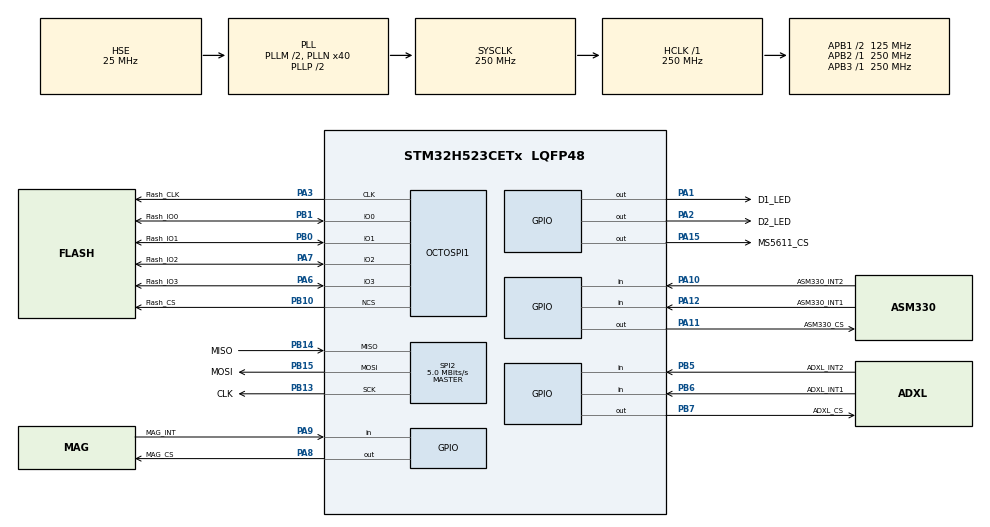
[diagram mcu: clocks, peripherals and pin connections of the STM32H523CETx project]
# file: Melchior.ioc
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BOOTPATH.BootPathName=LEGACY
BOOTPATH.UserSelectedBootPath=LEGACY
CORTEX_M33_NS.userName=CORTEX_M33
Mcu.Family=STM32H5
Mcu.Name=STM32H523CETx
Mcu.Package=LQFP48
NVIC.PriorityGroup=NVIC_PRIORITYGROUP_4
NVIC.TIM2_IRQn=true\:0\:0\:false\:false\:true\:true\:true\:true
PA1.GPIO_Label=D1_LED
PA1.Signal=GPIO_Output
PA10.GPIO_Label=ASM330_INT2
PA10.Signal=GPIO_Input
PA11.GPIO_Label=ASM330_CS
PA11.PinState=GPIO_PIN_SET
PA11.Signal=GPIO_Output
PA12.GPIO_Label=ASM330_INT1
PA12.Signal=GPIO_Input
PA13(JTMS/SWDIO).Mode=Trace_Asynchronous_SW
PA13(JTMS/SWDIO).Signal=DEBUG_JTMS-SWDIO
PA14(JTCK/SWCLK).Mode=Trace_Asynchronous_SW
PA14(JTCK/SWCLK).Signal=DEBUG_JTCK-SWCLK
PA15(JTDI).GPIO_Label=MS5611_CS
PA15(JTDI).PinState=GPIO_PIN_SET
PA15(JTDI).Signal=GPIO_Output
PA2.GPIO_Label=D2_LED
PA2.Signal=GPIO_Output
PA3.GPIO_Label=Flash_CLK
PA3.Mode=quad_mode
PA3.Signal=OCTOSPI1_CLK
PA6.GPIO_Label=Flash_IO3
PA6.Mode=OCTOSPI1_IO[3\:0]
PA6.Signal=OCTOSPI1_IO3
PA7.GPIO_Label=Flash_IO2
PA7.Mode=OCTOSPI1_IO[3\:0]
PA7.Signal=OCTOSPI1_IO2
PA8.GPIO_Label=MAG_CS
PA8.PinState=GPIO_PIN_SET
PA8.Signal=GPIO_Output
PA9.GPIO_Label=MAG_INT
PA9.Signal=GPIO_Input
PB0.GPIO_Label=Flash_IO1
PB0.Mode=OCTOSPI1_IO[3\:0]
PB0.Signal=OCTOSPI1_IO1
PB1.GPIO_Label=Flash_IO0
PB1.Mode=OCTOSPI1_IO[3\:0]
PB1.Signal=OCTOSPI1_IO0
PB10.GPIO_Label=Flash_CS
PB10.Mode=quad_mode
PB10.Signal=OCTOSPI1_NCS
PB13.GPIO_Label=CLK
PB13.Mode=Full_Duplex_Master
PB13.Signal=SPI2_SCK
PB14.GPIO_Label=MISO
PB14.Mode=Full_Duplex_Master
PB14.Signal=SPI2_MISO
PB15.GPIO_Label=MOSI
PB15.Mode=Full_Duplex_Master
PB15.Signal=SPI2_MOSI
PB3(JTDO/TRACESWO).Mode=Trace_Asynchronous_SW
PB3(JTDO/TRACESWO).Signal=DEBUG_JTDO-SWO
PB5.GPIO_Label=ADXL_INT2
PB5.Signal=GPIO_Input
PB6.GPIO_Label=ADXL_INT1
PB6.Signal=GPIO_Input
PB7.GPIO_Label=ADXL_CS
PB7.PinState=GPIO_PIN_SET
PB7.Signal=GPIO_Output
PC14-OSC32_IN(OSC32_IN).Mode=LSE-External-Oscillator
PC14-OSC32_IN(OSC32_IN).Signal=RCC_OSC32_IN
PC15-OSC32_OUT(OSC32_OUT).Mode=LSE-External-Oscillator
PC15-OSC32_OUT(OSC32_OUT).Signal=RCC_OSC32_OUT
PH0-OSC_IN(PH0).Mode=HSE-External-Oscillator
PH0-OSC_IN(PH0).Signal=RCC_OSC_IN
PH1-OSC_OUT(PH1).Mode=HSE-External-Oscillator
PH1-OSC_OUT(PH1).Signal=RCC_OSC_OUT
ProjectManager.HeapSize=0x200
ProjectManager.StackSize=0x400
ProjectManager.TargetToolchain=STM32CubeIDE
RCC.ADCFreq_Value=250000000
RCC.AHBFreq_Value=250000000
RCC.APB1CLKDivider=RCC_HCLK_DIV2
RCC.APB1Freq_Value=125000000
RCC.APB1TimFreq_Value=250000000
RCC.APB2Freq_Value=250000000
RCC.APB2TimFreq_Value=250000000
RCC.APB3Freq_Value=250000000
RCC.CSI_VALUE=4000000
RCC.CortexFreq_Value=250000000
RCC.EPOD_VALUE=25000000
RCC.HCLKFreq_Value=250000000
RCC.HSE_VALUE=25000000
RCC.HSI48_VALUE=48000000
RCC.HSI_VALUE=64000000
RCC.LSIRC_VALUE=32000
RCC.OCTOSPIMCLockSelection=RCC_OSPICLKSOURCE_PLL2R
RCC.PLL1Q=100
RCC.PLL2FRACN=0
RCC.PLL2R=8
RCC.PLL3FRACN=0
RCC.PLLFRACN=0
RCC.PLLM=2
RCC.PLLN=40
RCC.PLLSourceVirtual=RCC_PLL1_SOURCE_HSE
RCC.RTCClockSelection=RCC_RTCCLKSOURCE_LSE
RCC.SYSCLKFreq_VALUE=250000000
RCC.SYSCLKSource=RCC_SYSCLKSOURCE_PLLCLK
RCC.USBFreq_Value=48000000
RCC.VCOOutputFreq_Value=500000000
SPI2.BaudRatePrescaler=SPI_BAUDRATEPRESCALER_BYPASS
SPI2.CLKPhase=SPI_PHASE_1EDGE
SPI2.CLKPolarity=SPI_POLARITY_LOW
SPI2.CalculateBaudRate=5.0 MBits/s
SPI2.DataSize=SPI_DATASIZE_8BIT
SPI2.Direction=SPI_DIRECTION_2LINES
SPI2.Mode=SPI_MODE_MASTER
SPI2.VirtualType=VM_MASTER
TIM2.PeriodNoDither=4999
TIM2.Prescaler=24999
VP_BOOTPATH_VS_BOOTPATH.Mode=BP_Activate
VP_CORTEX_M33_NS_VS_Hclk.Mode=Hclk_Mode
VP_ICACHE_VS_ICACHE.Mode=DefaultMode
VP_MEMORYMAP_VS_MEMORYMAP.Mode=CurAppReg
VP_PWR_VS_LPOM.Mode=PowerOptimisation
VP_PWR_VS_SECSignals.Mode=Security/Privilege
VP_RTC_VS_RTC_Activate.Mode=RTC_Enabled
VP_RTC_VS_RTC_Calendar.Mode=RTC_Calendar
VP_TIM2_VS_ClockSourceINT.Mode=Internal
board=custom

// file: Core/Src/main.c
/* USER CODE BEGIN Header */
/**
  ******************************************************************************
  * @file           : main.c
  * @brief          : Main program body
  ******************************************************************************
  * @attention
  *
  * Copyright (c) 2026 STMicroelectronics.
  * All rights reserved.
  *
  * This software is licensed under terms that can be found in the LICENSE file
  * in the root directory of this software component.
  * If no LICENSE file comes with this software, it is provided AS-IS.
  *
  ******************************************************************************
  */
/* USER CODE END Header */
#include "main.h"

/* USER CODE BEGIN Includes */
#include <stdio.h>
#include "asm330lhhx.h"
#include "ms5611.h"
/* USER CODE END Includes */

XSPI_HandleTypeDef hxspi1;

RTC_HandleTypeDef hrtc;

SPI_HandleTypeDef hspi2;

TIM_HandleTypeDef htim2;

/* USER CODE BEGIN PV */
static ASM330LHHX_t asm330;
static const ASM330LHHX_Config_t asm330_config = {
		.accel_odr = ASM330LHHX_ODR_6667,
		.accel_fs = ASM330LHHX_XL_FS_2G,
		.gyro_odr = ASM330LHHX_ODR_6667,
		.gyro_fs = ASM330LHHX_G_FS_1000DPS,
		.spi_timeout_ms = 100U
};

static uint8_t asm330_ready = 0U;
static MS5611_t ms5611;
/* User-selectable settings; Init copies each configuration. */
static const MS5611_Config_t ms5611_config = {
    .pressure_osr = MS5611_OSR_4096,
    .temperature_osr = MS5611_OSR_4096,
    .spi_timeout_ms = 100U,
    .second_order_compensation = true
};

/* USER CODE END PV */

void SystemClock_Config(void);
static void MX_GPIO_Init(void);
static void MX_OCTOSPI1_Init(void);
static void MX_SPI2_Init(void);
static void MX_RTC_Init(void);
static void MX_ICACHE_Init(void);
static void MX_TIM2_Init(void);

/* USER CODE BEGIN 0 */
int _write(int file, char *ptr, int len)
{
    (void)file;
    for (int i = 0; i < len; ++i) {
        ITM_SendChar(*ptr++);
    }
    return len;
}

/* Fixed-point printing retains two decimal places, including -0.xx,
   without enabling floating-point printf in newlib-nano. */
static void print_hundredths(int32_t value)
{
    unsigned long magnitude = (unsigned long)(value < 0 ? -(int64_t)value : value);
    printf("%s%lu.%02lu", value < 0 ? "-" : "", magnitude / 100UL, magnitude % 100UL);
}

/* USER CODE END 0 */

int main(void)
{

  /* MCU Configuration--------------------------------------------------------*/

  /* Reset of all peripherals, Initializes the Flash interface and the Systick. */
  HAL_Init();

  /* Configure the system clock */
  SystemClock_Config();

  /* Initialize all configured peripherals */
  MX_GPIO_Init();
  MX_OCTOSPI1_Init();
  MX_SPI2_Init();
  MX_RTC_Init();
  MX_ICACHE_Init();
  MX_TIM2_Init();
  /* USER CODE BEGIN 2 */

  /* Keep all other devices off the shared SPI bus. */
  HAL_GPIO_WritePin(ADXL_CS_GPIO_Port, ADXL_CS_Pin, GPIO_PIN_SET);
  HAL_GPIO_WritePin(MS5611_CS_GPIO_Port, MS5611_CS_Pin, GPIO_PIN_SET);
  HAL_GPIO_WritePin(MAG_CS_GPIO_Port, MAG_CS_Pin, GPIO_PIN_SET);
  ASM330LHHX_AssignSPI(&asm330, &hspi2, ASM330_CS_GPIO_Port, ASM330_CS_Pin);
  HAL_Delay(20U); // Allow sensor power-on reset to complete.
  setvbuf(stdout, NULL, _IONBF, 0); // Send printf output directly to ITM port 0.

  uint8_t asm_id = 0U;
  HAL_StatusTypeDef asm_status = ASM330LHHX_ReadDeviceID(&asm330, &asm_id);
  if ((asm_status == HAL_OK) && (asm_id == ASM330LHHX_WHO_AM_I_VALUE)) {
    HAL_StatusTypeDef asm_init_status = ASM330LHHX_Init(&asm330, &asm330_config);
    if (asm_init_status == HAL_OK) {
      asm330_ready = 1U;
      printf("ASM330LHHX initialized\r\n");
    } else {
      printf("ASM330LHHX initialization failed, HAL status: %u\r\n",
             (unsigned int)asm_status);
    }
  } else {
    printf("ASM330LHHX not detected; check wiring and SPI configuration.\r\n");
  }

  MS5611_AssignSPI(&ms5611, &hspi2, MS5611_CS_GPIO_Port, MS5611_CS_Pin);
  MS5611_Status_t ms_status = MS5611_Init(&ms5611, &ms5611_config);
  if (ms_status == MS5611_OK) {
    printf("MS5611 initialized\r\n");
  } else {
    printf("MS5611 init failed: status=%u, HAL=%u (check PS low, CS and wiring)\r\n",
           (unsigned int)ms_status, (unsigned int)ms5611.last_hal_status);
  }

  /* USER CODE END 2 */

  /* Infinite loop */
  /* USER CODE BEGIN WHILE */
  while (1)
  {
    HAL_Delay(500U);
    if (asm330_ready) {
      ASM330LHHX_FloatData_t accel, gyro;
      HAL_StatusTypeDef accel_status = ASM330LHHX_ReadAccelMg(&asm330, &accel);
      HAL_StatusTypeDef gyro_status = ASM330LHHX_ReadGyroMdps(&asm330, &gyro);
      if (accel_status == HAL_OK) {
        printf("Accel [mg]: X=%ld Y=%ld Z=%ld\r\n",
               (long)accel.x, (long)accel.y, (long)accel.z);
      } else {
        printf("ASM330 accel read failed: HAL=%u\r\n", (unsigned int)accel_status);
      }
      if (gyro_status == HAL_OK) {
        printf("Gyro [mdps]: X=%ld Y=%ld Z=%ld\r\n",
               (long)gyro.x, (long)gyro.y, (long)gyro.z);
      } else {
        printf("ASM330 gyro read failed: HAL=%u\r\n", (unsigned int)gyro_status);
      }
    }
    if (ms5611.initialized) {
      MS5611_Data_t data;
      MS5611_Status_t status = MS5611_Read(&ms5611, &data);
      if (status == MS5611_OK) {
        printf("MS5611 pressure: ");
        print_hundredths(data.pressure_centi_mbar);
        printf(" mbar, temperature: ");
        print_hundredths(data.temperature_centi_c);
        printf(" C\r\n");
      } else {
        printf("MS5611 read failed: status=%u HAL=%u\r\n",
               (unsigned int)status, (unsigned int)ms5611.last_hal_status);
      }
    }
    /* USER CODE END WHILE */

  }
}

void SystemClock_Config(void)
{
  RCC_OscInitTypeDef RCC_OscInitStruct = {0};
  RCC_ClkInitTypeDef RCC_ClkInitStruct = {0};

  /** Configure the main internal regulator output voltage
  */
  __HAL_PWR_VOLTAGESCALING_CONFIG(PWR_REGULATOR_VOLTAGE_SCALE0);

  while(!__HAL_PWR_GET_FLAG(PWR_FLAG_VOSRDY)) {}

  /** Configure LSE Drive Capability
  *  Warning : Only applied when the LSE is disabled.
  */
  HAL_PWR_EnableBkUpAccess();
  __HAL_RCC_LSEDRIVE_CONFIG(RCC_LSEDRIVE_LOW);

  /** Initializes the RCC Oscillators according to the specified parameters
  * in the RCC_OscInitTypeDef structure.
  */
  RCC_OscInitStruct.OscillatorType = RCC_OSCILLATORTYPE_HSE|RCC_OSCILLATORTYPE_LSE
                              |RCC_OSCILLATORTYPE_CSI;
  RCC_OscInitStruct.HSEState = RCC_HSE_ON;
  RCC_OscInitStruct.LSEState = RCC_LSE_ON;
  RCC_OscInitStruct.CSIState = RCC_CSI_ON;
  RCC_OscInitStruct.CSICalibrationValue = RCC_CSICALIBRATION_DEFAULT;
  RCC_OscInitStruct.PLL.PLLState = RCC_PLL_ON;
  RCC_OscInitStruct.PLL.PLLSource = RCC_PLL1_SOURCE_HSE;
  RCC_OscInitStruct.PLL.PLLM = 2;
  RCC_OscInitStruct.PLL.PLLN = 40;
  RCC_OscInitStruct.PLL.PLLP = 2;
  RCC_OscInitStruct.PLL.PLLQ = 100;
  RCC_OscInitStruct.PLL.PLLR = 2;
  RCC_OscInitStruct.PLL.PLLRGE = RCC_PLL1_VCIRANGE_3;
  RCC_OscInitStruct.PLL.PLLVCOSEL = RCC_PLL1_VCORANGE_WIDE;
  RCC_OscInitStruct.PLL.PLLFRACN = 0;
  if (HAL_RCC_OscConfig(&RCC_OscInitStruct) != HAL_OK)
  {
    Error_Handler();
  }

  /** Initializes the CPU, AHB and APB buses clocks
  */
  RCC_ClkInitStruct.ClockType = RCC_CLOCKTYPE_HCLK|RCC_CLOCKTYPE_SYSCLK
                              |RCC_CLOCKTYPE_PCLK1|RCC_CLOCKTYPE_PCLK2
                              |RCC_CLOCKTYPE_PCLK3;
  RCC_ClkInitStruct.SYSCLKSource = RCC_SYSCLKSOURCE_PLLCLK;
  RCC_ClkInitStruct.AHBCLKDivider = RCC_SYSCLK_DIV1;
  RCC_ClkInitStruct.APB1CLKDivider = RCC_HCLK_DIV2;
  RCC_ClkInitStruct.APB2CLKDivider = RCC_HCLK_DIV1;
  RCC_ClkInitStruct.APB3CLKDivider = RCC_HCLK_DIV1;

  if (HAL_RCC_ClockConfig(&RCC_ClkInitStruct, FLASH_LATENCY_5) != HAL_OK)
  {
    Error_Handler();
  }

  /** Configure the programming delay
  */
  __HAL_FLASH_SET_PROGRAM_DELAY(FLASH_PROGRAMMING_DELAY_2);
}

static void MX_ICACHE_Init(void)
{

  /** Enable instruction cache (default 2-ways set associative cache)
  */
  if (HAL_ICACHE_Enable() != HAL_OK)
  {
    Error_Handler();
  }

}

static void MX_OCTOSPI1_Init(void)
{

  /* OCTOSPI1 parameter configuration*/
  hxspi1.Instance = OCTOSPI1;
  hxspi1.Init.FifoThresholdByte = 1;
  hxspi1.Init.MemoryMode = HAL_XSPI_SINGLE_MEM;
  hxspi1.Init.MemoryType = HAL_XSPI_MEMTYPE_MICRON;
  hxspi1.Init.MemorySize = HAL_XSPI_SIZE_16B;
  hxspi1.Init.ChipSelectHighTimeCycle = 1;
  hxspi1.Init.FreeRunningClock = HAL_XSPI_FREERUNCLK_DISABLE;
  hxspi1.Init.ClockMode = HAL_XSPI_CLOCK_MODE_0;
  hxspi1.Init.WrapSize = HAL_XSPI_WRAP_NOT_SUPPORTED;
  hxspi1.Init.ClockPrescaler = 0;
  hxspi1.Init.SampleShifting = HAL_XSPI_SAMPLE_SHIFT_NONE;
  hxspi1.Init.DelayHoldQuarterCycle = HAL_XSPI_DHQC_DISABLE;
  hxspi1.Init.ChipSelectBoundary = HAL_XSPI_BONDARYOF_NONE;
  hxspi1.Init.DelayBlockBypass = HAL_XSPI_DELAY_BLOCK_BYPASS;
  hxspi1.Init.Refresh = 0;
  if (HAL_XSPI_Init(&hxspi1) != HAL_OK)
  {
    Error_Handler();
  }

}

static void MX_RTC_Init(void)
{

  RTC_PrivilegeStateTypeDef privilegeState = {0};
  RTC_TimeTypeDef sTime = {0};
  RTC_DateTypeDef sDate = {0};

  /** Initialize RTC Only
  */
  hrtc.Instance = RTC;
  hrtc.Init.HourFormat = RTC_HOURFORMAT_24;
  hrtc.Init.AsynchPrediv = 127;
  hrtc.Init.SynchPrediv = 255;
  hrtc.Init.OutPut = RTC_OUTPUT_DISABLE;
  hrtc.Init.OutPutRemap = RTC_OUTPUT_REMAP_NONE;
  hrtc.Init.OutPutPolarity = RTC_OUTPUT_POLARITY_HIGH;
  hrtc.Init.OutPutType = RTC_OUTPUT_TYPE_OPENDRAIN;
  hrtc.Init.OutPutPullUp = RTC_OUTPUT_PULLUP_NONE;
  hrtc.Init.BinMode = RTC_BINARY_NONE;
  if (HAL_RTC_Init(&hrtc) != HAL_OK)
  {
    Error_Handler();
  }
  privilegeState.rtcPrivilegeFull = RTC_PRIVILEGE_FULL_NO;
  privilegeState.backupRegisterPrivZone = RTC_PRIVILEGE_BKUP_ZONE_NONE;
  privilegeState.backupRegisterStartZone2 = RTC_BKP_DR0;
  privilegeState.backupRegisterStartZone3 = RTC_BKP_DR0;
  if (HAL_RTCEx_PrivilegeModeSet(&hrtc, &privilegeState) != HAL_OK)
  {
    Error_Handler();
  }

  /** Initialize RTC and set the Time and Date
  */
  sTime.Hours = 0x0;
  sTime.Minutes = 0x0;
  sTime.Seconds = 0x0;
  sTime.DayLightSaving = RTC_DAYLIGHTSAVING_NONE;
  sTime.StoreOperation = RTC_STOREOPERATION_RESET;
  if (HAL_RTC_SetTime(&hrtc, &sTime, RTC_FORMAT_BCD) != HAL_OK)
  {
    Error_Handler();
  }
  sDate.WeekDay = RTC_WEEKDAY_MONDAY;
  sDate.Month = RTC_MONTH_JANUARY;
  sDate.Date = 0x1;
  sDate.Year = 0x0;

  if (HAL_RTC_SetDate(&hrtc, &sDate, RTC_FORMAT_BCD) != HAL_OK)
  {
    Error_Handler();
  }

}

static void MX_SPI2_Init(void)
{

  /* SPI2 parameter configuration*/
  hspi2.Instance = SPI2;
  hspi2.Init.Mode = SPI_MODE_MASTER;
  hspi2.Init.Direction = SPI_DIRECTION_2LINES;
  hspi2.Init.DataSize = SPI_DATASIZE_8BIT;
  hspi2.Init.CLKPolarity = SPI_POLARITY_LOW;
  hspi2.Init.CLKPhase = SPI_PHASE_1EDGE;
  hspi2.Init.NSS = SPI_NSS_SOFT;
  hspi2.Init.BaudRatePrescaler = SPI_BAUDRATEPRESCALER_BYPASS;
  hspi2.Init.FirstBit = SPI_FIRSTBIT_MSB;
  hspi2.Init.TIMode = SPI_TIMODE_DISABLE;
  hspi2.Init.CRCCalculation = SPI_CRCCALCULATION_DISABLE;
  hspi2.Init.CRCPolynomial = 0x7;
  hspi2.Init.NSSPMode = SPI_NSS_PULSE_ENABLE;
  hspi2.Init.NSSPolarity = SPI_NSS_POLARITY_LOW;
  hspi2.Init.FifoThreshold = SPI_FIFO_THRESHOLD_01DATA;
  hspi2.Init.MasterSSIdleness = SPI_MASTER_SS_IDLENESS_00CYCLE;
  hspi2.Init.MasterInterDataIdleness = SPI_MASTER_INTERDATA_IDLENESS_00CYCLE;
  hspi2.Init.MasterReceiverAutoSusp = SPI_MASTER_RX_AUTOSUSP_DISABLE;
  hspi2.Init.MasterKeepIOState = SPI_MASTER_KEEP_IO_STATE_DISABLE;
  hspi2.Init.IOSwap = SPI_IO_SWAP_DISABLE;
  hspi2.Init.ReadyMasterManagement = SPI_RDY_MASTER_MANAGEMENT_INTERNALLY;
  hspi2.Init.ReadyPolarity = SPI_RDY_POLARITY_HIGH;
  if (HAL_SPI_Init(&hspi2) != HAL_OK)
  {
    Error_Handler();
  }

}

static void MX_TIM2_Init(void)
{

  TIM_ClockConfigTypeDef sClockSourceConfig = {0};
  TIM_MasterConfigTypeDef sMasterConfig = {0};

  htim2.Instance = TIM2;
  htim2.Init.Prescaler = 24999;
  htim2.Init.CounterMode = TIM_COUNTERMODE_UP;
  htim2.Init.Period = 4999;
  htim2.Init.ClockDivision = TIM_CLOCKDIVISION_DIV1;
  htim2.Init.AutoReloadPreload = TIM_AUTORELOAD_PRELOAD_DISABLE;
  if (HAL_TIM_Base_Init(&htim2) != HAL_OK)
  {
    Error_Handler();
  }
  sClockSourceConfig.ClockSource = TIM_CLOCKSOURCE_INTERNAL;
  if (HAL_TIM_ConfigClockSource(&htim2, &sClockSourceConfig) != HAL_OK)
  {
    Error_Handler();
  }
  sMasterConfig.MasterOutputTrigger = TIM_TRGO_RESET;
  sMasterConfig.MasterSlaveMode = TIM_MASTERSLAVEMODE_DISABLE;
  if (HAL_TIMEx_MasterConfigSynchronization(&htim2, &sMasterConfig) != HAL_OK)
  {
    Error_Handler();
  }

}

static void MX_GPIO_Init(void)
{
  GPIO_InitTypeDef GPIO_InitStruct = {0};

  /* GPIO Ports Clock Enable */
  __HAL_RCC_GPIOC_CLK_ENABLE();
  __HAL_RCC_GPIOH_CLK_ENABLE();
  __HAL_RCC_GPIOA_CLK_ENABLE();
  __HAL_RCC_GPIOB_CLK_ENABLE();

  /*Configure GPIO pin Output Level */
  HAL_GPIO_WritePin(GPIOA, D1_LED_Pin|D2_LED_Pin, GPIO_PIN_RESET);

  /*Configure GPIO pin Output Level */
  HAL_GPIO_WritePin(GPIOA, MAG_CS_Pin|ASM330_CS_Pin|MS5611_CS_Pin, GPIO_PIN_SET);

  /*Configure GPIO pin Output Level */
  HAL_GPIO_WritePin(ADXL_CS_GPIO_Port, ADXL_CS_Pin, GPIO_PIN_SET);

  /*Configure GPIO pins : D1_LED_Pin D2_LED_Pin MAG_CS_Pin ASM330_CS_Pin
                           MS5611_CS_Pin */
  GPIO_InitStruct.Pin = D1_LED_Pin|D2_LED_Pin|MAG_CS_Pin|ASM330_CS_Pin
                          |MS5611_CS_Pin;
  GPIO_InitStruct.Mode = GPIO_MODE_OUTPUT_PP;
  GPIO_InitStruct.Pull = GPIO_NOPULL;
  GPIO_InitStruct.Speed = GPIO_SPEED_FREQ_LOW;
  HAL_GPIO_Init(GPIOA, &GPIO_InitStruct);

  /*Configure GPIO pins : MAG_INT_Pin ASM330_INT2_Pin ASM330_INT1_Pin */
  GPIO_InitStruct.Pin = MAG_INT_Pin|ASM330_INT2_Pin|ASM330_INT1_Pin;
  GPIO_InitStruct.Mode = GPIO_MODE_INPUT;
  GPIO_InitStruct.Pull = GPIO_NOPULL;
  HAL_GPIO_Init(GPIOA, &GPIO_InitStruct);

  /*Configure GPIO pins : ADXL_INT2_Pin ADXL_INT1_Pin */
  GPIO_InitStruct.Pin = ADXL_INT2_Pin|ADXL_INT1_Pin;
  GPIO_InitStruct.Mode = GPIO_MODE_INPUT;
  GPIO_InitStruct.Pull = GPIO_NOPULL;
  HAL_GPIO_Init(GPIOB, &GPIO_InitStruct);

  /*Configure GPIO pin : ADXL_CS_Pin */
  GPIO_InitStruct.Pin = ADXL_CS_Pin;
  GPIO_InitStruct.Mode = GPIO_MODE_OUTPUT_PP;
  GPIO_InitStruct.Pull = GPIO_NOPULL;
  GPIO_InitStruct.Speed = GPIO_SPEED_FREQ_LOW;
  HAL_GPIO_Init(ADXL_CS_GPIO_Port, &GPIO_InitStruct);

}

void Error_Handler(void)
{
  __disable_irq();
  while (1)
  {
  }
}
